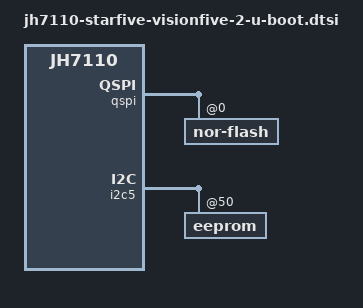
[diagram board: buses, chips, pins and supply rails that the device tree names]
// SPDX-License-Identifier: GPL-2.0 OR MIT
/*
 * Copyright (C) 2023 StarFive Technology Co., Ltd.
 */

#include "binman.dtsi"
#include "jh7110-u-boot.dtsi"
/ {
	chosen {
		bootph-pre-ram;
		opensbi-domains {
			compatible = "opensbi,domain,config";

			tmem: tmem {
				compatible = "opensbi,domain,memregion";
				base = <0x0 0x41000000>;
				order = <24>; // 16MiB
			};

			allmem: allmem {
				compatible = "opensbi,domain,memregion";
				base = <0x0 0x0>;
				order = <64>;
			};

			tdomain: trusted-domain {
				compatible = "opensbi,domain,instance";
				regions = <&allmem 0x3f>;
				possible-harts = <&U74_1 &U74_2 &U74_3 &U74_4>;
				boot-hart = <&U74_1>;
				next-addr = <0x0 0x41000000>; /* optee_os: CFG_TDDRAM_START
							       * u-boot  : CONFIG_SPL_OPTEE_IMAGE_LOAD_ADDR
							       */
				next-mode = <0x1>;
			};

			udomain: untrusted-domain {
				compatible = "opensbi,domain,instance";
				regions = <&tmem 0x0>, <&allmem 0x3f>;
				possible-harts = <&U74_1 &U74_2 &U74_3 &U74_4>;
				boot-hart = <&U74_1>;
				next-addr = <0x0 0x40200000>; /* u-boot: CONFIG_TEXT_BASE */
				next-mode = <0x1>;
			};
		};
	};

	sbi-mpxy-opteed {
		opensbi-domain-instance = <&tdomain>;
		riscv,sbi-mpxy-channel-id = <0x2>;
		compatible = "riscv,sbi-mpxy-opteed";
	};

	firmware {
		spi0 = &qspi;
		bootph-pre-ram;
	};

	config {
		bootph-pre-ram;
		u-boot,spl-payload-offset = <0x100000>;
	};

	memory@40000000 {
		bootph-pre-ram;
	};
};

&U74_1 {
	opensbi-domain = <&tdomain>;
};

&U74_2 {
	opensbi-domain = <&tdomain>;
};

&U74_3 {
	opensbi-domain = <&tdomain>;
};

&U74_4 {
	opensbi-domain = <&tdomain>;
};

&uart0 {
	bootph-pre-ram;
};

&mmc0 {
	bootph-pre-ram;
};

&mmc1 {
	bootph-pre-ram;
};

&qspi {
	bootph-pre-ram;

	nor-flash@0 {
		bootph-pre-ram;
	};
};

&sysgpio {
	bootph-pre-ram;
};

&mmc0_pins {
	bootph-pre-ram;
	mmc0-pins-rest {
		bootph-pre-ram;
	};
};

&mmc1_pins {
	bootph-pre-ram;
	mmc1-pins0 {
		bootph-pre-ram;
	};

	mmc1-pins1 {
		bootph-pre-ram;
	};
};

&i2c5_pins {
	bootph-pre-ram;
	i2c-pins {
		bootph-pre-ram;
	};
};

&i2c5 {
	bootph-pre-ram;
	eeprom@50 {
		bootph-pre-ram;
	};
};

&binman {
	itb {
		fit {
			images {
				fdt-1 {
					description = "NAME";
					load = <0x40400000>;
					compression = "none";

					uboot_fdt_blob: blob-ext {
						filename = "u-boot.dtb";
					};
				};
			};

			configurations {
				conf-1 {
					fdt = "fdt-1";
				};
			};
		};
	};

	spl-img {
		filename = "spl/u-boot-spl.bin.normal.out";

		mkimage {
			args = "-T sfspl";

			u-boot-spl {
			};
		};
	};
};
